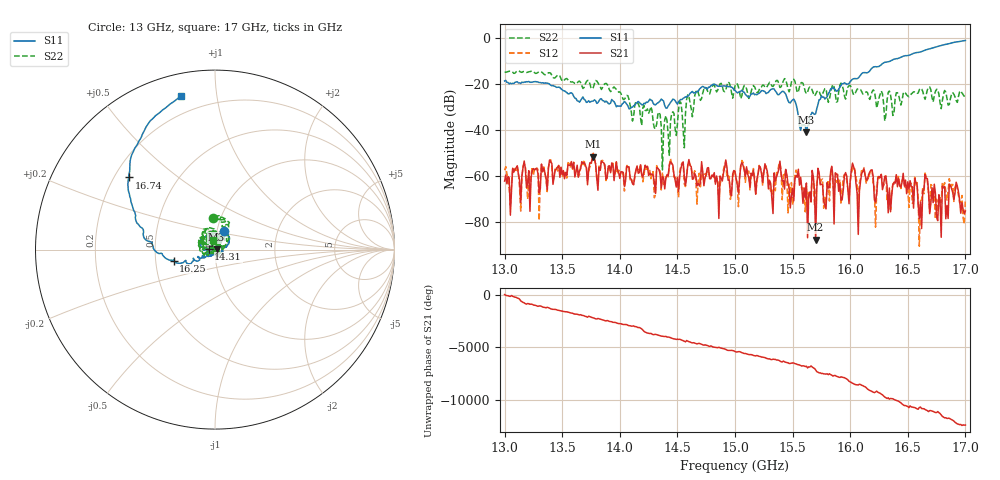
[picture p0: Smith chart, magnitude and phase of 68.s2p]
!Keysight Technologies,P9374A,MY57211807,A.19.30.04
!Date: Friday, May 01, 2026 14:23:51
!Correction: S11(C  2-Port  )
!S21(C  2-Port  )
!S12(C  2-Port  )
!S22(C  2-Port  )
!S2P File: Measurements: S11, S21, S12, S22:
# Hz S  RI  R 50
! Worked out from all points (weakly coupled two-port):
!   401 points, 13 GHz to 17 GHz, reference 50 ohm
!   highest |S21| = -51.50 dB at 13.77 GHz (marker M1); lowest = -87.6 dB at 15.7 GHz (marker M2)
!   lowest |S11| = -40.9 dB at 15.62 GHz (marker M3), VSWR 1.02, Z = 50.9 + j0.143 ohm
!   |S11| at or under -10 dB: start of sweep to 16.35 GHz
!   |S22| runs from -57.3 to -14.3 dB; largest |S21 - S12| = 0.00067
!   S11 on the Smith chart (normalised r, x): 13 GHz: 1.08, +0.23; 14.31 GHz: 0.93, +0.01; 16.25 GHz: 0.62, -0.08; 16.74 GHz: 0.26, +0.34; 17 GHz: 0.11, +0.80
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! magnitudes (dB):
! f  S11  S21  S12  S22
! 13 GHz  -18.7  -62.2  -57.4  -15.0
! 13.04 GHz  -20.0  -60.7  -65.3  -14.5
! 13.09 GHz  -19.3  -57.2  -56.7  -15.3
! 13.21 GHz  -18.9  -57.7  -59.4  -14.8
! 13.67 GHz  -26.4  -53.7  -54.5  -20.7
! 13.77 GHz  -27.4  -51.5  -50.1  -21.6
! 14.31 GHz  -29.1  -67.6  -68.0  -39.5
! 14.34 GHz  -27.9  -57.3  -57.4  -32.2
! 14.38 GHz  -27.4  -60.7  -63.6  -40.7
! 15 GHz  -22.8  -58.0  -58.0  -20.9
! 15.42 GHz  -23.3  -61.9  -59.4  -18.7
! 15.62 GHz  -40.9  -63.0  -64.4  -24.3
! 15.67 GHz  -32.3  -57.5  -59.0  -22.7
! 15.7 GHz  -33.0  -87.6  -69.0  -24.6
! 16.25 GHz  -12.4  -60.1  -60.8  -26.2
! 16.34 GHz  -10.3  -65.2  -66.9  -23.1
! 16.46 GHz  -8.0  -58.8  -61.0  -24.2
! 16.61 GHz  -6.2  -71.2  -70.8  -21.9
! 16.65 GHz  -5.3  -59.2  -58.7  -26.7
! 16.74 GHz  -4.1  -67.5  -78.6  -23.2
! 16.87 GHz  -2.4  -64.1  -62.7  -26.4
! 17 GHz  -1.2  -75.1  -70.1  -25.2
